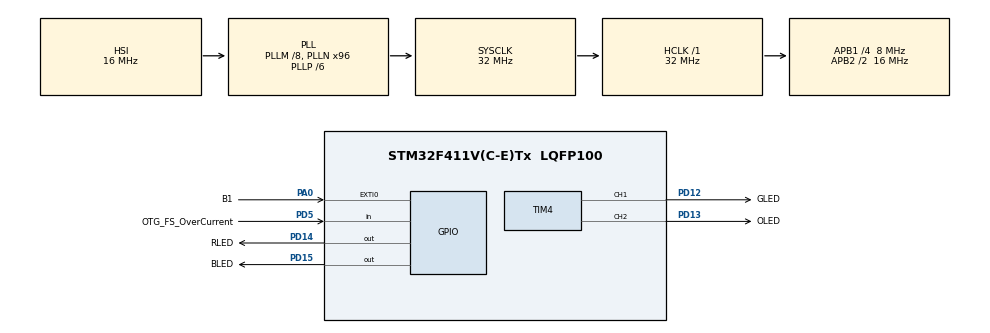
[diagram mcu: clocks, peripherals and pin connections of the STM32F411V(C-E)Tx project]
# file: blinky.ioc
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Mcu.Family=STM32F4
Mcu.Name=STM32F411V(C-E)Tx
Mcu.Package=LQFP100
NVIC.EXTI0_IRQn=true\:0\:0\:false\:false\:true\:true\:true\:true
NVIC.PriorityGroup=NVIC_PRIORITYGROUP_0
NVIC.TIM1_BRK_TIM9_IRQn=true\:0\:0\:false\:false\:true\:true\:true\:true
NVIC.TIM1_CC_IRQn=true\:0\:0\:false\:false\:true\:true\:true\:true
NVIC.TIM1_TRG_COM_TIM11_IRQn=true\:0\:0\:false\:false\:true\:true\:true\:true
NVIC.TIM1_UP_TIM10_IRQn=true\:0\:0\:false\:false\:true\:true\:true\:true
PA0-WKUP.GPIO_Label=B1
PA0-WKUP.GPIO_ModeDefaultEXTI=GPIO_MODE_IT_FALLING
PA0-WKUP.Signal=GPXTI0
PA10.GPIO_Label=OTG_FS_ID
PA10.Signal=USB_OTG_FS_ID
PA11.GPIO_Label=OTG_FS_DM
PA11.Signal=USB_OTG_FS_DM
PA12.GPIO_Label=OTG_FS_DP
PA12.Signal=USB_OTG_FS_DP
PA13.GPIO_Label=SWDIO
PA13.Mode=Serial_Wire
PA13.Signal=SYS_JTMS-SWDIO
PA14.GPIO_Label=SWCLK
PA14.Mode=Serial_Wire
PA14.Signal=SYS_JTCK-SWCLK
PA9.GPIO_Label=VBUS_FS
PA9.Signal=USB_OTG_FS_VBUS
PB3.GPIO_Label=SWO
PB3.Signal=SYS_JTDO-SWO
PC14-OSC32_IN.GPIO_Label=PC14-OSC32_IN
PC14-OSC32_IN.Mode=LSE-External-Oscillator
PC14-OSC32_IN.Signal=RCC_OSC32_IN
PC15-OSC32_OUT.GPIO_Label=PC15-OSC32_OUT
PC15-OSC32_OUT.Mode=LSE-External-Oscillator
PC15-OSC32_OUT.Signal=RCC_OSC32_OUT
PD12.GPIO_Label=GLED
PD12.Signal=S_TIM4_CH1
PD13.GPIO_Label=OLED
PD13.Signal=S_TIM4_CH2
PD14.GPIO_Label=RLED
PD14.Signal=GPIO_Output
PD15.GPIO_Label=BLED
PD15.Signal=GPIO_Output
PD5.GPIO_Label=OTG_FS_OverCurrent
PD5.Signal=GPIO_Input
PH0\ -\ OSC_IN.GPIO_Label=PH0-OSC_IN
PH0\ -\ OSC_IN.Mode=HSE-External-Oscillator
PH0\ -\ OSC_IN.Signal=RCC_OSC_IN
PH1\ -\ OSC_OUT.GPIO_Label=PH1-OSC_OUT
PH1\ -\ OSC_OUT.Mode=HSE-External-Oscillator
PH1\ -\ OSC_OUT.Signal=RCC_OSC_OUT
ProjectManager.HeapSize=0x200
ProjectManager.StackSize=0x400
ProjectManager.TargetToolchain=STM32CubeIDE
RCC.48MHZClocksFreq_Value=24000000
RCC.AHBFreq_Value=32000000
RCC.APB1CLKDivider=RCC_HCLK_DIV4
RCC.APB1Freq_Value=8000000
RCC.APB1TimFreq_Value=16000000
RCC.APB2CLKDivider=RCC_HCLK_DIV2
RCC.APB2Freq_Value=16000000
RCC.APB2TimFreq_Value=32000000
RCC.CortexFreq_Value=32000000
RCC.HCLKFreq_Value=32000000
RCC.HSE_VALUE=8000000
RCC.HSI_VALUE=16000000
RCC.PLLI2SM=5
RCC.PLLI2SN=200
RCC.PLLM=8
RCC.PLLN=96
RCC.PLLP=RCC_PLLP_DIV6
RCC.PLLQ=8
RCC.SYSCLKFreq_VALUE=32000000
RCC.SYSCLKSource=RCC_SYSCLKSOURCE_PLLCLK
RCC.VCOOutputFreq_Value=192000000
SH.S_TIM4_CH1.0=TIM4_CH1,PWM Generation1 CH1
SH.S_TIM4_CH2.0=TIM4_CH2,PWM Generation2 CH2
TIM1.Period=50
TIM1.Prescaler=32000
TIM4.Channel-PWM\ Generation1\ CH1=TIM_CHANNEL_1
TIM4.Channel-PWM\ Generation2\ CH2=TIM_CHANNEL_2
VP_TIM1_VS_ClockSourceINT.Mode=Internal
board=STM32F411E-DISCO

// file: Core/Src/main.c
/* USER CODE BEGIN Header */
/**
  ******************************************************************************
  * @file           : main.c
  * @brief          : Main program body
  ******************************************************************************
  * @attention
  *
  * Copyright (c) 2022 STMicroelectronics.
  * All rights reserved.
  *
  * This software is licensed under terms that can be found in the LICENSE file
  * in the root directory of this software component.
  * If no LICENSE file comes with this software, it is provided AS-IS.
  *
  ******************************************************************************
  */
/* USER CODE END Header */
#include "main.h"

TIM_HandleTypeDef htim1;
TIM_HandleTypeDef htim4;

/* USER CODE BEGIN PV */
volatile int blinking = 1;
volatile int debounce = 1;
/* USER CODE END PV */

void SystemClock_Config(void);
static void MX_GPIO_Init(void);
static void MX_TIM4_Init(void);
static void MX_TIM1_Init(void);

/* USER CODE BEGIN 0 */
void Update_LEDs()
{
	static uint16_t pwm_val_1 = 0;
	static uint16_t pwm_val_2 = 60000;
	static uint16_t step = 50;

	if ( !blinking )
	{
  		TIM4->CCR1 = 0;
  		TIM4->CCR2 = 0;
  		HAL_GPIO_WritePin(RLED_GPIO_Port, BLED_Pin, 0);
  		HAL_GPIO_WritePin(RLED_GPIO_Port, RLED_Pin, 0);
  		pwm_val_1 = 0;
  		pwm_val_2 = 60000;
  		return;
	}

  	if(pwm_val_1 <= 0)
  	{
  	  step = 50;
  	  HAL_GPIO_WritePin(BLED_GPIO_Port, BLED_Pin, 1);
  	  HAL_GPIO_WritePin(RLED_GPIO_Port, RLED_Pin, 0);
  	}

  	if(pwm_val_1 >= 60000)
  	{
  	  step = -50;
  	  HAL_GPIO_WritePin(BLED_GPIO_Port, BLED_Pin, 0);
  	  HAL_GPIO_WritePin(RLED_GPIO_Port, RLED_Pin, 1);
  	}

  	pwm_val_1 += step;
  	pwm_val_2 -= step;
  	TIM4->CCR1 = pwm_val_1;
  	TIM4->CCR2 = pwm_val_2;
}

void HAL_GPIO_EXTI_Callback(uint16_t GPIO_Pin)
{
	if(GPIO_Pin == B1_Pin && debounce){
		HAL_TIM_Base_Start_IT(&htim1);
		debounce = 0;
	}
	else{
		__NOP();
	}
}

void HAL_TIM_PeriodElapsedCallback(TIM_HandleTypeDef *htim)
{
	UNUSED(htim);

	if(HAL_GPIO_ReadPin(B1_GPIO_Port, B1_Pin) == GPIO_PIN_RESET){
		if ( blinking )
		{
			blinking = 0;
			Update_LEDs();
		}
		else
		{
			blinking = 1;
		}
		debounce = 1;
		HAL_TIM_Base_Stop_IT(&htim1);
	}
}
/* USER CODE END 0 */

int main(void)
{

  /* MCU Configuration--------------------------------------------------------*/

  /* Reset of all peripherals, Initializes the Flash interface and the Systick. */
  HAL_Init();

  /* Configure the system clock */
  SystemClock_Config();

  /* Initialize all configured peripherals */
  MX_GPIO_Init();
  MX_TIM4_Init();
  MX_TIM1_Init();
  /* USER CODE BEGIN 2 */

  HAL_TIM_PWM_Start(&htim4, TIM_CHANNEL_1);
  HAL_TIM_PWM_Start(&htim4, TIM_CHANNEL_2);
  /* USER CODE END 2 */

  /* Infinite loop */
  /* USER CODE BEGIN WHILE */
  while (1)
  {
	Update_LEDs();
	HAL_Delay(1);
    /* USER CODE END WHILE */

  }
}

void SystemClock_Config(void)
{
  RCC_OscInitTypeDef RCC_OscInitStruct = {0};
  RCC_ClkInitTypeDef RCC_ClkInitStruct = {0};

  /** Configure the main internal regulator output voltage
  */
  __HAL_RCC_PWR_CLK_ENABLE();
  __HAL_PWR_VOLTAGESCALING_CONFIG(PWR_REGULATOR_VOLTAGE_SCALE1);

  /** Initializes the RCC Oscillators according to the specified parameters
  * in the RCC_OscInitTypeDef structure.
  */
  RCC_OscInitStruct.OscillatorType = RCC_OSCILLATORTYPE_HSI;
  RCC_OscInitStruct.HSIState = RCC_HSI_ON;
  RCC_OscInitStruct.HSICalibrationValue = RCC_HSICALIBRATION_DEFAULT;
  RCC_OscInitStruct.PLL.PLLState = RCC_PLL_ON;
  RCC_OscInitStruct.PLL.PLLSource = RCC_PLLSOURCE_HSI;
  RCC_OscInitStruct.PLL.PLLM = 8;
  RCC_OscInitStruct.PLL.PLLN = 96;
  RCC_OscInitStruct.PLL.PLLP = RCC_PLLP_DIV6;
  RCC_OscInitStruct.PLL.PLLQ = 8;
  if (HAL_RCC_OscConfig(&RCC_OscInitStruct) != HAL_OK)
  {
    Error_Handler();
  }

  /** Initializes the CPU, AHB and APB buses clocks
  */
  RCC_ClkInitStruct.ClockType = RCC_CLOCKTYPE_HCLK|RCC_CLOCKTYPE_SYSCLK
                              |RCC_CLOCKTYPE_PCLK1|RCC_CLOCKTYPE_PCLK2;
  RCC_ClkInitStruct.SYSCLKSource = RCC_SYSCLKSOURCE_PLLCLK;
  RCC_ClkInitStruct.AHBCLKDivider = RCC_SYSCLK_DIV1;
  RCC_ClkInitStruct.APB1CLKDivider = RCC_HCLK_DIV4;
  RCC_ClkInitStruct.APB2CLKDivider = RCC_HCLK_DIV2;

  if (HAL_RCC_ClockConfig(&RCC_ClkInitStruct, FLASH_LATENCY_1) != HAL_OK)
  {
    Error_Handler();
  }
}

static void MX_TIM1_Init(void)
{

  TIM_ClockConfigTypeDef sClockSourceConfig = {0};
  TIM_MasterConfigTypeDef sMasterConfig = {0};

  htim1.Instance = TIM1;
  htim1.Init.Prescaler = 32000;
  htim1.Init.CounterMode = TIM_COUNTERMODE_UP;
  htim1.Init.Period = 50;
  htim1.Init.ClockDivision = TIM_CLOCKDIVISION_DIV1;
  htim1.Init.RepetitionCounter = 0;
  htim1.Init.AutoReloadPreload = TIM_AUTORELOAD_PRELOAD_DISABLE;
  if (HAL_TIM_Base_Init(&htim1) != HAL_OK)
  {
    Error_Handler();
  }
  sClockSourceConfig.ClockSource = TIM_CLOCKSOURCE_INTERNAL;
  if (HAL_TIM_ConfigClockSource(&htim1, &sClockSourceConfig) != HAL_OK)
  {
    Error_Handler();
  }
  sMasterConfig.MasterOutputTrigger = TIM_TRGO_RESET;
  sMasterConfig.MasterSlaveMode = TIM_MASTERSLAVEMODE_DISABLE;
  if (HAL_TIMEx_MasterConfigSynchronization(&htim1, &sMasterConfig) != HAL_OK)
  {
    Error_Handler();
  }

}

static void MX_TIM4_Init(void)
{

  TIM_MasterConfigTypeDef sMasterConfig = {0};
  TIM_OC_InitTypeDef sConfigOC = {0};

  htim4.Instance = TIM4;
  htim4.Init.Prescaler = 0;
  htim4.Init.CounterMode = TIM_COUNTERMODE_UP;
  htim4.Init.Period = 65535;
  htim4.Init.ClockDivision = TIM_CLOCKDIVISION_DIV1;
  htim4.Init.AutoReloadPreload = TIM_AUTORELOAD_PRELOAD_DISABLE;
  if (HAL_TIM_PWM_Init(&htim4) != HAL_OK)
  {
    Error_Handler();
  }
  sMasterConfig.MasterOutputTrigger = TIM_TRGO_RESET;
  sMasterConfig.MasterSlaveMode = TIM_MASTERSLAVEMODE_DISABLE;
  if (HAL_TIMEx_MasterConfigSynchronization(&htim4, &sMasterConfig) != HAL_OK)
  {
    Error_Handler();
  }
  sConfigOC.OCMode = TIM_OCMODE_PWM1;
  sConfigOC.Pulse = 0;
  sConfigOC.OCPolarity = TIM_OCPOLARITY_HIGH;
  sConfigOC.OCFastMode = TIM_OCFAST_DISABLE;
  if (HAL_TIM_PWM_ConfigChannel(&htim4, &sConfigOC, TIM_CHANNEL_1) != HAL_OK)
  {
    Error_Handler();
  }
  if (HAL_TIM_PWM_ConfigChannel(&htim4, &sConfigOC, TIM_CHANNEL_2) != HAL_OK)
  {
    Error_Handler();
  }
  HAL_TIM_MspPostInit(&htim4);

}

static void MX_GPIO_Init(void)
{
  GPIO_InitTypeDef GPIO_InitStruct = {0};

  /* GPIO Ports Clock Enable */
  __HAL_RCC_GPIOC_CLK_ENABLE();
  __HAL_RCC_GPIOH_CLK_ENABLE();
  __HAL_RCC_GPIOA_CLK_ENABLE();
  __HAL_RCC_GPIOD_CLK_ENABLE();
  __HAL_RCC_GPIOB_CLK_ENABLE();

  /*Configure GPIO pin Output Level */
  HAL_GPIO_WritePin(GPIOD, RLED_Pin|BLED_Pin, GPIO_PIN_RESET);

  /*Configure GPIO pin : B1_Pin */
  GPIO_InitStruct.Pin = B1_Pin;
  GPIO_InitStruct.Mode = GPIO_MODE_IT_FALLING;
  GPIO_InitStruct.Pull = GPIO_NOPULL;
  HAL_GPIO_Init(B1_GPIO_Port, &GPIO_InitStruct);

  /*Configure GPIO pins : RLED_Pin BLED_Pin */
  GPIO_InitStruct.Pin = RLED_Pin|BLED_Pin;
  GPIO_InitStruct.Mode = GPIO_MODE_OUTPUT_PP;
  GPIO_InitStruct.Pull = GPIO_NOPULL;
  GPIO_InitStruct.Speed = GPIO_SPEED_FREQ_LOW;
  HAL_GPIO_Init(GPIOD, &GPIO_InitStruct);

  /*Configure GPIO pin : VBUS_FS_Pin */
  GPIO_InitStruct.Pin = VBUS_FS_Pin;
  GPIO_InitStruct.Mode = GPIO_MODE_INPUT;
  GPIO_InitStruct.Pull = GPIO_NOPULL;
  HAL_GPIO_Init(VBUS_FS_GPIO_Port, &GPIO_InitStruct);

  /*Configure GPIO pins : OTG_FS_ID_Pin OTG_FS_DM_Pin OTG_FS_DP_Pin */
  GPIO_InitStruct.Pin = OTG_FS_ID_Pin|OTG_FS_DM_Pin|OTG_FS_DP_Pin;
  GPIO_InitStruct.Mode = GPIO_MODE_AF_PP;
  GPIO_InitStruct.Pull = GPIO_NOPULL;
  GPIO_InitStruct.Speed = GPIO_SPEED_FREQ_VERY_HIGH;
  GPIO_InitStruct.Alternate = GPIO_AF10_OTG_FS;
  HAL_GPIO_Init(GPIOA, &GPIO_InitStruct);

  /*Configure GPIO pin : OTG_FS_OverCurrent_Pin */
  GPIO_InitStruct.Pin = OTG_FS_OverCurrent_Pin;
  GPIO_InitStruct.Mode = GPIO_MODE_INPUT;
  GPIO_InitStruct.Pull = GPIO_NOPULL;
  HAL_GPIO_Init(OTG_FS_OverCurrent_GPIO_Port, &GPIO_InitStruct);

  /* EXTI interrupt init*/
  HAL_NVIC_SetPriority(EXTI0_IRQn, 0, 0);
  HAL_NVIC_EnableIRQ(EXTI0_IRQn);

}

void Error_Handler(void)
{
  __disable_irq();
  while (1)
  {
  }
}
